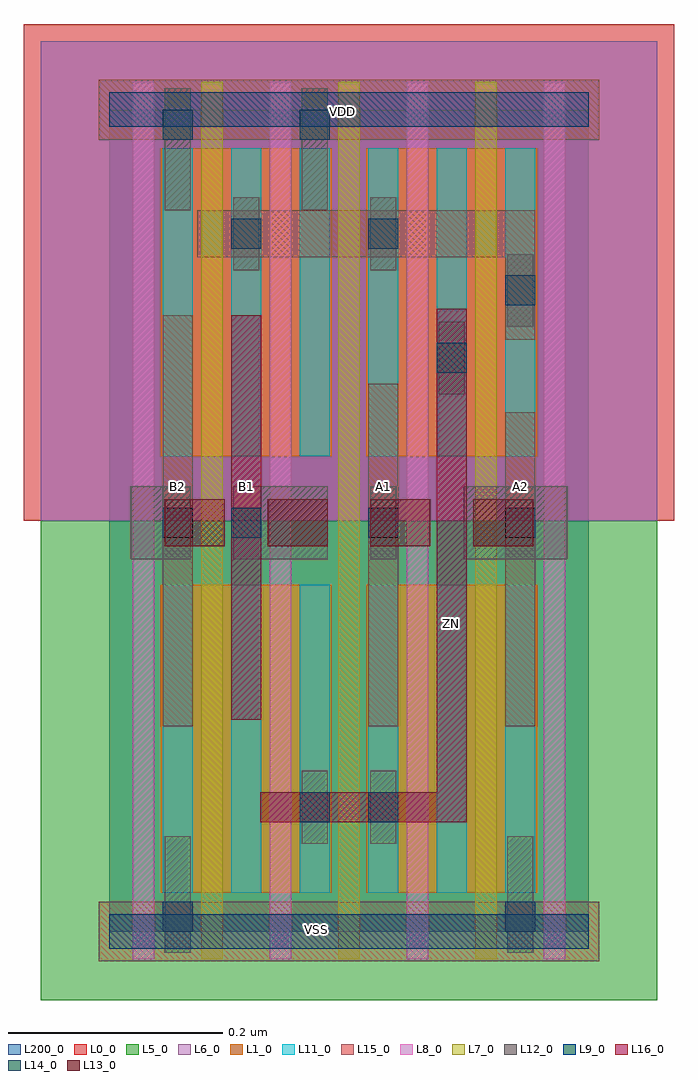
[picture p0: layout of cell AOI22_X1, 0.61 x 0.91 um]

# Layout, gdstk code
import gdstk
lib = gdstk.Library(unit=1e-6, precision=1e-09)
def R(c, l, rs):  # rectangles x0, y0, x1, y1
    for r in rs: c.add(gdstk.rectangle(r[:2], r[2:], *l))
def A(c, l, x, y, w, h, nx, ny, dx, dy):  # array of equal rectangles
    R(c, l, [(x+i*dx, y+j*dy, x+i*dx+w, y+j*dy+h) for i in range(nx) for j in range(ny)])
def P(c, l, *ps):  # polygons
    for p in ps: c.add(gdstk.Polygon(p, *l))
L0_0 = (0, 0)
L1_0 = (1, 0)
L5_0 = (5, 0)
L6_0 = (6, 0)
L7_0 = (7, 0)
L8_0 = (8, 0)
L9_0 = (9, 0)
L11_0 = (11, 0)
L12_0 = (12, 0)
L13_0 = (13, 0)
L14_0 = (14, 0)
L15_0 = (15, 0)
L16_0 = (16, 0)
L200_0 = (200, 0)

aoi22_x1 = lib.new_cell('AOI22_X1')
R(aoi22_x1, L0_0, [(-0.08,0.384,0.528,0.848)])
R(aoi22_x1, L1_0, [(0.048,0.036,0.208,0.324), (0.24,0.036,0.4,0.324), (0.048,0.444,0.208,0.732), (0.24,0.444,0.4,0.732)])
R(aoi22_x1, L5_0, [(-0.064,-0.064,0.512,0.384)])
R(aoi22_x1, L6_0, [(-0.064,0.384,0.512,0.832)])
A(aoi22_x1, L7_0, 0.086, -0.026, 0.02, 0.82, 3, 1, 0.128, 0)
A(aoi22_x1, L8_0, 0.022, -0.026, 0.02, 0.82, 4, 1, 0.128, 0)
R(aoi22_x1, L9_0, [(0,-0.016,0.448,0.016), (0,0.752,0.448,0.784)])
A(aoi22_x1, L11_0, 0.05, 0.036, 0.028, 0.288, 6, 2, 0.064, 0.408)
R(aoi22_x1, L12_0, [(0.052,-0.02,0.076,0.089), (0.372,-0.02,0.396,0.089), (0.18,0.082,0.204,0.15), (0.244,0.082,0.268,0.15), (0.02,0.348,0.076,0.416), (0.116,0.348,0.204,0.416), (0.244,0.348,0.268,0.416), (0.331,0.348,0.428,0.416), (0.308,0.502,0.332,0.57), (0.372,0.565,0.396,0.633), (0.116,0.618,0.14,0.686), (0.244,0.618,0.268,0.686), (0.052,0.674,0.076,0.788), (0.18,0.674,0.204,0.788)])
A(aoi22_x1, L13_0, 0.052, 0.36, 0.056, 0.044, 4, 1, 0.096, 0)
A(aoi22_x1, L14_0, 0.114, 0.368, 0.028, 0.028, 3, 1, 0.128, 0)
R(aoi22_x1, L14_0, [(0.05,0,0.078,0.028), (0.37,0,0.398,0.028), (0.178,0.102,0.206,0.13), (0.242,0.102,0.27,0.13), (0.05,0.368,0.078,0.396), (0.306,0.522,0.334,0.55), (0.37,0.585,0.398,0.613), (0.114,0.638,0.142,0.666), (0.242,0.638,0.27,0.666), (0.05,0.74,0.078,0.768), (0.178,0.74,0.206,0.768)])
R(aoi22_x1, L15_0, [(-0.01,-0.028,0.458,0.028), (0.05,0.192,0.078,0.576), (0.242,0.192,0.27,0.512), (0.37,0.192,0.398,0.485), (-0.01,0.74,0.458,0.796)])
P(aoi22_x1, L15_0, [(0.082,0.63),(0.37,0.63),(0.37,0.553),(0.398,0.553),(0.398,0.674),(0.082,0.674)])
R(aoi22_x1, L16_0, [(0.114,0.198,0.142,0.576)])
P(aoi22_x1, L16_0, [(0.141,0.102),(0.334,0.102),(0.334,0.582),(0.306,0.582),(0.306,0.13),(0.141,0.13)])
R(aoi22_x1, L200_0, [(0,0,0.448,0.768)])
aoi22_x1.add(gdstk.Label('A1', (0.256,0.416), layer=15, texttype=20))
aoi22_x1.add(gdstk.Label('A2', (0.384,0.416), layer=15, texttype=20))
aoi22_x1.add(gdstk.Label('VDD', (0.218,0.766), layer=15, texttype=20))
aoi22_x1.add(gdstk.Label('VSS', (0.194,0.002), layer=15, texttype=20))
aoi22_x1.add(gdstk.Label('B2', (0.064,0.416), layer=15, texttype=20))
aoi22_x1.add(gdstk.Label('ZN', (0.32,0.288), layer=16, texttype=20))
aoi22_x1.add(gdstk.Label('B1', (0.128,0.416), layer=16, texttype=20))

lib.write_gds('AOI22_X1.gds')
